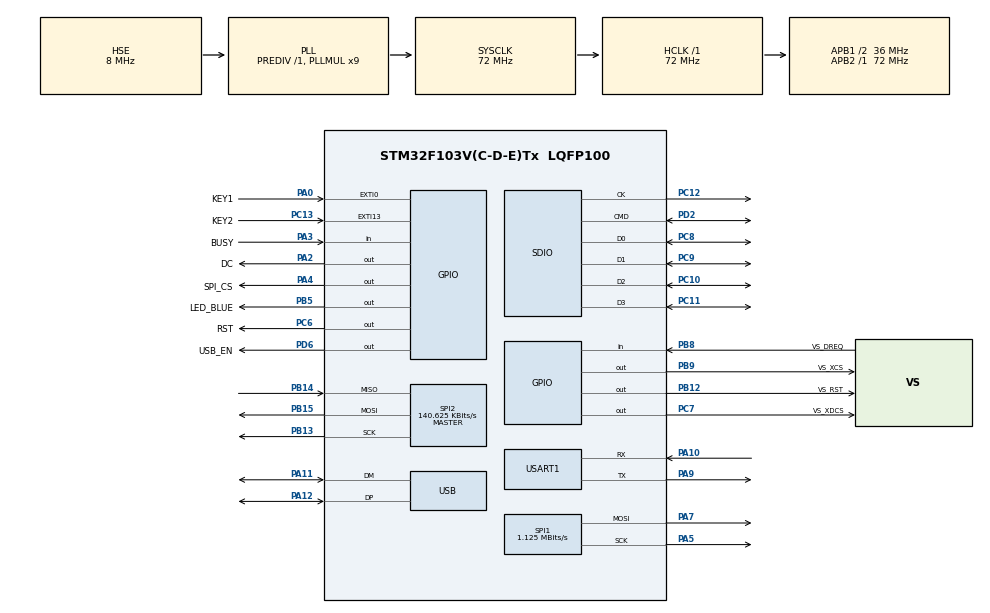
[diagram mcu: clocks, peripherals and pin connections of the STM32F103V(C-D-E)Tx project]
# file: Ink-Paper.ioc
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Dma.Request0=USART1_RX
Dma.Request1=USART1_TX
Dma.USART1_RX.0.Direction=DMA_PERIPH_TO_MEMORY
Dma.USART1_RX.0.Instance=DMA1_Channel5
Dma.USART1_RX.0.MemDataAlignment=DMA_MDATAALIGN_BYTE
Dma.USART1_RX.0.MemInc=DMA_MINC_ENABLE
Dma.USART1_RX.0.Mode=DMA_NORMAL
Dma.USART1_RX.0.PeriphDataAlignment=DMA_PDATAALIGN_BYTE
Dma.USART1_RX.0.PeriphInc=DMA_PINC_DISABLE
Dma.USART1_RX.0.Priority=DMA_PRIORITY_MEDIUM
Dma.USART1_TX.1.Direction=DMA_MEMORY_TO_PERIPH
Dma.USART1_TX.1.Instance=DMA1_Channel4
Dma.USART1_TX.1.MemDataAlignment=DMA_MDATAALIGN_BYTE
Dma.USART1_TX.1.MemInc=DMA_MINC_ENABLE
Dma.USART1_TX.1.Mode=DMA_NORMAL
Dma.USART1_TX.1.PeriphDataAlignment=DMA_PDATAALIGN_BYTE
Dma.USART1_TX.1.PeriphInc=DMA_PINC_DISABLE
Dma.USART1_TX.1.Priority=DMA_PRIORITY_MEDIUM
FATFS._CODE_PAGE=936
FATFS._FS_LOCK=50
FATFS._FS_REENTRANT=0
FATFS._MAX_LFN=100
FATFS._USE_FIND=1
FATFS._USE_LFN=2
FATFS._VOLUMES=1
FREERTOS.INCLUDE_vTaskDelayUntil=1
FREERTOS.MEMORY_ALLOCATION=1
FREERTOS.Tasks01=defaultTask,1,1024,StartDefaultTask,Default,NULL,Static,defaultTaskBuffer,defaultTaskControlBlock;mainTask,0,1024,StartMainTask,Default,NULL,Static,mainTaskBuffer,mainTaskControlBlock
FREERTOS.configTOTAL_HEAP_SIZE=12288
Mcu.Family=STM32F1
Mcu.Name=STM32F103V(C-D-E)Tx
Mcu.Package=LQFP100
NVIC.DMA1_Channel4_IRQn=true\:5\:0\:false\:false\:true\:true\:false\:true\:true
NVIC.DMA1_Channel5_IRQn=true\:5\:0\:false\:false\:true\:true\:false\:true\:true
NVIC.EXTI0_IRQn=true\:5\:0\:false\:false\:true\:true\:true\:true\:true
NVIC.EXTI15_10_IRQn=true\:5\:0\:false\:false\:true\:true\:true\:true\:true
NVIC.PriorityGroup=NVIC_PRIORITYGROUP_4
NVIC.SDIO_IRQn=true\:5\:0\:true\:false\:true\:true\:true\:true\:true
NVIC.TIM1_UP_IRQn=true\:15\:0\:true\:false\:true\:false\:false\:true\:true
NVIC.TimeBase=TIM1_UP_IRQn
NVIC.TimeBaseIP=TIM1
NVIC.USART1_IRQn=true\:5\:0\:false\:false\:true\:true\:true\:true\:true
NVIC.USB_LP_CAN1_RX0_IRQn=true\:6\:0\:true\:false\:true\:true\:false\:true\:true
OSC_IN.Mode=HSE-External-Oscillator
OSC_IN.Signal=RCC_OSC_IN
OSC_OUT.Mode=HSE-External-Oscillator
OSC_OUT.Signal=RCC_OSC_OUT
PA0-WKUP.GPIO_Label=KEY1
PA0-WKUP.GPIO_ModeDefaultEXTI=GPIO_MODE_IT_RISING_FALLING
PA0-WKUP.Signal=GPXTI0
PA10.Mode=Asynchronous
PA10.Signal=USART1_RX
PA11.Mode=Device
PA11.Signal=USB_DM
PA12.Mode=Device
PA12.Signal=USB_DP
PA13.Mode=Serial_Wire
PA13.Signal=SYS_JTMS-SWDIO
PA14.Mode=Serial_Wire
PA14.Signal=SYS_JTCK-SWCLK
PA2.GPIO_Label=DC
PA2.GPIO_Speed=GPIO_SPEED_FREQ_HIGH
PA2.Signal=GPIO_Output
PA3.GPIO_Label=BUSY
PA3.Signal=GPIO_Input
PA4.GPIO_Label=SPI_CS
PA4.Signal=GPIO_Output
PA5.Mode=TX_Only_Simplex_Unidirect_Master
PA5.Signal=SPI1_SCK
PA7.Mode=TX_Only_Simplex_Unidirect_Master
PA7.Signal=SPI1_MOSI
PA9.Mode=Asynchronous
PA9.Signal=USART1_TX
PB12.GPIO_Label=VS_RST
PB12.GPIO_PuPd=GPIO_PULLUP
PB12.GPIO_Speed=GPIO_SPEED_FREQ_HIGH
PB12.Signal=GPIO_Output
PB13.Mode=Full_Duplex_Master
PB13.Signal=SPI2_SCK
PB14.Mode=Full_Duplex_Master
PB14.Signal=SPI2_MISO
PB15.Mode=Full_Duplex_Master
PB15.Signal=SPI2_MOSI
PB5.GPIO_Label=LED_BLUE
PB5.Signal=GPIO_Output
PB8.GPIO_Label=VS_DREQ
PB8.GPIO_PuPd=GPIO_PULLUP
PB8.Signal=GPIO_Input
PB9.GPIO_Label=VS_XCS
PB9.GPIO_PuPd=GPIO_PULLUP
PB9.GPIO_Speed=GPIO_SPEED_FREQ_HIGH
PB9.Signal=GPIO_Output
PC10.Mode=SD_4_bits_Wide_bus
PC10.Signal=SDIO_D2
PC11.Mode=SD_4_bits_Wide_bus
PC11.Signal=SDIO_D3
PC12.Mode=SD_4_bits_Wide_bus
PC12.Signal=SDIO_CK
PC13-TAMPER-RTC.GPIO_Label=KEY2
PC13-TAMPER-RTC.GPIO_ModeDefaultEXTI=GPIO_MODE_IT_RISING_FALLING
PC13-TAMPER-RTC.Signal=GPXTI13
PC14-OSC32_IN.Mode=LSE-External-Oscillator
PC14-OSC32_IN.Signal=RCC_OSC32_IN
PC15-OSC32_OUT.Mode=LSE-External-Oscillator
PC15-OSC32_OUT.Signal=RCC_OSC32_OUT
PC6.GPIO_Label=RST
PC6.GPIO_PuPd=GPIO_NOPULL
PC6.GPIO_Speed=GPIO_SPEED_FREQ_HIGH
PC6.Signal=GPIO_Output
PC7.GPIO_Label=VS_XDCS
PC7.GPIO_PuPd=GPIO_PULLUP
PC7.GPIO_Speed=GPIO_SPEED_FREQ_HIGH
PC7.Signal=GPIO_Output
PC8.Mode=SD_4_bits_Wide_bus
PC8.Signal=SDIO_D0
PC9.Mode=SD_4_bits_Wide_bus
PC9.Signal=SDIO_D1
PD2.Mode=SD_4_bits_Wide_bus
PD2.Signal=SDIO_CMD
PD6.GPIO_Label=USB_EN
PD6.GPIO_ModeDefaultOutputPP=GPIO_MODE_OUTPUT_PP
PD6.GPIO_PuPd=GPIO_NOPULL
PD6.PinState=GPIO_PIN_SET
PD6.Signal=GPIO_Output
ProjectManager.HeapSize=0x500
ProjectManager.StackSize=0x1000
ProjectManager.TargetToolchain=STM32CubeIDE
RCC.AHBFreq_Value=72000000
RCC.APB1CLKDivider=RCC_HCLK_DIV2
RCC.APB1Freq_Value=36000000
RCC.APB1TimFreq_Value=72000000
RCC.APB2Freq_Value=72000000
RCC.APB2TimFreq_Value=72000000
RCC.HCLKFreq_Value=72000000
RCC.PLLMUL=RCC_PLL_MUL9
RCC.PLLSourceVirtual=RCC_PLLSOURCE_HSE
RCC.SYSCLKFreq_VALUE=72000000
RCC.SYSCLKSource=RCC_SYSCLKSOURCE_PLLCLK
RCC.USBFreq_Value=48000000
RCC.USBPrescaler=RCC_USBCLKSOURCE_PLL_DIV1_5
SDIO.ClockDiv=2
SDIO.HardwareFlowControl=SDIO_HARDWARE_FLOW_CONTROL_ENABLE
SPI1.BaudRatePrescaler=SPI_BAUDRATEPRESCALER_64
SPI1.CalculateBaudRate=1.125 MBits/s
SPI1.Direction=SPI_DIRECTION_2LINES
SPI1.Mode=SPI_MODE_MASTER
SPI1.VirtualType=VM_MASTER
SPI2.BaudRatePrescaler=SPI_BAUDRATEPRESCALER_256
SPI2.CLKPhase=SPI_PHASE_2EDGE
SPI2.CLKPolarity=SPI_POLARITY_HIGH
SPI2.CRCCalculation=SPI_CRCCALCULATION_DISABLE
SPI2.CalculateBaudRate=140.625 KBits/s
SPI2.Direction=SPI_DIRECTION_2LINES
SPI2.Mode=SPI_MODE_MASTER
SPI2.VirtualType=VM_MASTER
USART1.VirtualMode=VM_ASYNC
USB_DEVICE.CLASS_NAME_FS=MSC
USB_DEVICE.VirtualMode=Msc
USB_DEVICE.VirtualModeFS=Msc_FS
VP_FATFS_VS_SDIO.Mode=SDIO
VP_FREERTOS_VS_CMSIS_V1.Mode=CMSIS_V1
VP_SYS_VS_tim1.Mode=TIM1
VP_USB_DEVICE_VS_USB_DEVICE_MSC_FS.Mode=MSC_FS
board=custom

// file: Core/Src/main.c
/* USER CODE BEGIN Header */
/**
  ******************************************************************************
  * @file           : main.c
  * @brief          : Main program body
  ******************************************************************************
  * @attention
  *
  * Copyright (c) 2022 STMicroelectronics.
  * All rights reserved.
  *
  * This software is licensed under terms that can be found in the LICENSE file
  * in the root directory of this software component.
  * If no LICENSE file comes with this software, it is provided AS-IS.
  *
  ******************************************************************************
  */
	#include "bsp_ink_paper.h"
    #include "fops.h"
    #include "audio.h"
    #include "ff.h"
    #include "bsp_vs10xx.h"
    #include "bsp_delay.h"
/* USER CODE END Header */
#include "main.h"
#include "cmsis_os.h"
#include "dma.h"
#include "fatfs.h"
#include "sdio.h"
#include "spi.h"
#include "usart.h"
#include "usb_device.h"
#include "gpio.h"

void SystemClock_Config(void);
void MX_FREERTOS_Init(void);

int main(void)
{

  /* MCU Configuration--------------------------------------------------------*/

  /* Reset of all peripherals, Initializes the Flash interface and the Systick. */
  HAL_Init();

  /* Configure the system clock */
  SystemClock_Config();

  /* Initialize all configured peripherals */
  MX_GPIO_Init();
  MX_DMA_Init();
  MX_SPI1_Init();
  MX_USART1_UART_Init();
  MX_SDIO_SD_Init();
  MX_FATFS_Init();
  MX_SPI2_Init();
  /* USER CODE BEGIN 2 */
    delay_init();
    printf("%d",f_mount(&SDFatFS,SDPath,0));
    exf_showfree((uint8_t*)"0:");
    VS_HD_Reset();  // 初始化一定要硬复位VS1053b 不然DREQ一直为低
  /* USER CODE END 2 */

  /* Call init function for freertos objects (in freertos.c) */
  MX_FREERTOS_Init();

  /* Start scheduler */
  osKernelStart();

  /* We should never get here as control is now taken by the scheduler */
  /* Infinite loop */
    while (1)
    {

    }
}

void SystemClock_Config(void)
{
  RCC_OscInitTypeDef RCC_OscInitStruct = {0};
  RCC_ClkInitTypeDef RCC_ClkInitStruct = {0};
  RCC_PeriphCLKInitTypeDef PeriphClkInit = {0};

  /** Initializes the RCC Oscillators according to the specified parameters
  * in the RCC_OscInitTypeDef structure.
  */
  RCC_OscInitStruct.OscillatorType = RCC_OSCILLATORTYPE_HSE;
  RCC_OscInitStruct.HSEState = RCC_HSE_ON;
  RCC_OscInitStruct.HSEPredivValue = RCC_HSE_PREDIV_DIV1;
  RCC_OscInitStruct.HSIState = RCC_HSI_ON;
  RCC_OscInitStruct.PLL.PLLState = RCC_PLL_ON;
  RCC_OscInitStruct.PLL.PLLSource = RCC_PLLSOURCE_HSE;
  RCC_OscInitStruct.PLL.PLLMUL = RCC_PLL_MUL9;
  if (HAL_RCC_OscConfig(&RCC_OscInitStruct) != HAL_OK)
  {
    Error_Handler();
  }

  /** Initializes the CPU, AHB and APB buses clocks
  */
  RCC_ClkInitStruct.ClockType = RCC_CLOCKTYPE_HCLK|RCC_CLOCKTYPE_SYSCLK
                              |RCC_CLOCKTYPE_PCLK1|RCC_CLOCKTYPE_PCLK2;
  RCC_ClkInitStruct.SYSCLKSource = RCC_SYSCLKSOURCE_PLLCLK;
  RCC_ClkInitStruct.AHBCLKDivider = RCC_SYSCLK_DIV1;
  RCC_ClkInitStruct.APB1CLKDivider = RCC_HCLK_DIV2;
  RCC_ClkInitStruct.APB2CLKDivider = RCC_HCLK_DIV1;

  if (HAL_RCC_ClockConfig(&RCC_ClkInitStruct, FLASH_LATENCY_2) != HAL_OK)
  {
    Error_Handler();
  }
  PeriphClkInit.PeriphClockSelection = RCC_PERIPHCLK_USB;
  PeriphClkInit.UsbClockSelection = RCC_USBCLKSOURCE_PLL_DIV1_5;
  if (HAL_RCCEx_PeriphCLKConfig(&PeriphClkInit) != HAL_OK)
  {
    Error_Handler();
  }
}

void HAL_TIM_PeriodElapsedCallback(TIM_HandleTypeDef *htim)
{
  if (htim->Instance == TIM1) {
    HAL_IncTick();
  }
  /* USER CODE BEGIN Callback 1 */
    if (htim->Instance == TIM1) {  // 1ms
        lv_tick_inc(1);

    }
  /* USER CODE END Callback 1 */
}

void Error_Handler(void)
{
  __disable_irq();
  while (1)
  {
  }
}

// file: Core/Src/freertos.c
/* USER CODE BEGIN Header */
/**
  ******************************************************************************
  * File Name          : freertos.c
  * Description        : Code for freertos applications
  ******************************************************************************
  * @attention
  *
  * Copyright (c) 2022 STMicroelectronics.
  * All rights reserved.
  *
  * This software is licensed under terms that can be found in the LICENSE file
  * in the root directory of this software component.
  * If no LICENSE file comes with this software, it is provided AS-IS.
  *
  ******************************************************************************
  */
#include "lvgl.h"
#include "lv_port_disp.h"
#include "lv_port_fs.h"
#include "lv_port_indev.h"
#include "EPD_1in54_V2.h"
#include "GUI_Paint.h"
#include "bsp_ink_paper.h"
#include "bsp_key.h"
#include "usbd_def.h"
#include "usbd_core.h"
#include "sdio.h"
#include "ff.h"
#include "fatfs.h"
#include "audio.h"
#include "bsp_vs10xx.h"
#include "page_main.h"
#include "gui_setup.h"
#include "fops.h"
#include "bsp_usart.h"
#include "page_audio.h"
/* USER CODE END Header */

#include "FreeRTOS.h"
#include "task.h"
#include "main.h"
#include "cmsis_os.h"

/* USER CODE BEGIN PTD */
extern TIM_HandleTypeDef htim4;
/* USER CODE END PTD */

osThreadId defaultTaskHandle;
uint32_t defaultTaskBuffer[ 1024 ];
osStaticThreadDef_t defaultTaskControlBlock;
osThreadId mainTaskHandle;
uint32_t mainTaskBuffer[ 1024 ];
osStaticThreadDef_t mainTaskControlBlock;

void StartDefaultTask(void const * argument);
void StartMainTask(void const * argument);

extern void MX_USB_DEVICE_Init(void);
void MX_FREERTOS_Init(void); /* (MISRA C 2004 rule 8.1) */

/* GetIdleTaskMemory prototype (linked to static allocation support) */
void vApplicationGetIdleTaskMemory( StaticTask_t **ppxIdleTaskTCBBuffer, StackType_t **ppxIdleTaskStackBuffer, uint32_t *pulIdleTaskStackSize );

/* USER CODE BEGIN GET_IDLE_TASK_MEMORY */
static StaticTask_t xIdleTaskTCBBuffer;
static StackType_t xIdleStack[configMINIMAL_STACK_SIZE];

void vApplicationGetIdleTaskMemory(StaticTask_t **ppxIdleTaskTCBBuffer, StackType_t **ppxIdleTaskStackBuffer,
                                   uint32_t *pulIdleTaskStackSize) {
    *ppxIdleTaskTCBBuffer = &xIdleTaskTCBBuffer;
    *ppxIdleTaskStackBuffer = &xIdleStack[0];
    *pulIdleTaskStackSize = configMINIMAL_STACK_SIZE;
    /* place for user code */
}
/* USER CODE END GET_IDLE_TASK_MEMORY */

void MX_FREERTOS_Init(void) {

  /* Create the thread(s) */
  /* definition and creation of defaultTask */
  osThreadStaticDef(defaultTask, StartDefaultTask, osPriorityNormal, 0, 1024, defaultTaskBuffer, &defaultTaskControlBlock);
  defaultTaskHandle = osThreadCreate(osThread(defaultTask), NULL);

  /* definition and creation of mainTask */
  osThreadStaticDef(mainTask, StartMainTask, osPriorityNormal, 0, 1024, mainTaskBuffer, &mainTaskControlBlock);
  mainTaskHandle = osThreadCreate(osThread(mainTask), NULL);

  /* USER CODE BEGIN RTOS_THREADS */
    vTaskSuspend(mainTaskHandle);
  /* USER CODE END RTOS_THREADS */

}

void StartDefaultTask(void const * argument)
{
  /* init code for USB_DEVICE */
  MX_USB_DEVICE_Init();
  /* USER CODE BEGIN StartDefaultTask */
    static portTickType PreviousWakeTime;
    const portTickType TimeIncrement = pdMS_TO_TICKS(5);
    PreviousWakeTime = xTaskGetTickCount();
    InkPaperInit();
    lv_init();
    lv_port_disp_init();
    lv_port_indev_init();
    lv_port_fs_init();
    GUIInit();
    HAL_TIM_Encoder_Start(&htim4,TIM_CHANNEL_ALL);
    vTaskResume(mainTaskHandle);
    HAL_GPIO_WritePin(USB_EN_GPIO_Port, USB_EN_Pin, GPIO_PIN_SET);
    /* Infinite loop */
    for (;;) {
        if(audio_play_state==AUDIO_PLAY){
            vTaskDelay(100);
            audio_play((uint8_t *) namebuff, &audio_play_state);
        }
        USART1_REC_Handler();
        vTaskDelayUntil(&PreviousWakeTime, TimeIncrement);
    }
  /* USER CODE END StartDefaultTask */
}

/* USER CODE BEGIN Header_StartMainTask */
/**
* @brief Function implementing the mainTask thread.
* @param argument: Not used
* @retval None
*/

#define EventBit_USBConnect 0x01
#define EventBit_USBDisconnect 0x02

/* USER CODE END Header_StartMainTask */
void StartMainTask(void const * argument)
{
  /* USER CODE BEGIN StartMainTask */
    static portTickType PreviousWakeTime;
    const portTickType TimeIncrement = pdMS_TO_TICKS(5);
    PreviousWakeTime = xTaskGetTickCount();

    extern void lv_example4(void);
    lv_example4();
//	vTaskDelay(3000);
//	vTaskDelete(NULL);
    //lv_example1();
    /* Infinite loop */
//	lv_obj_t *sym_label = lv_label_create(lv_scr_act());
//	lv_obj_align(sym_label,LV_ALIGN_TOP_LEFT,0,0);
//	lv_obj_set_style_text_font(sym_label,&lv_font_montserrat_18,0);
//	lv_label_set_text(sym_label,"");
    for (;;) {
        lv_task_handler();
//		if(osSignalWait(EventBit_USBConnect,1).status==osEventSignal)
//		{
//			lv_label_set_text(sym_label, LV_SYMBOL_USB);
//		}
//		else if(osSignalWait(EventBit_USBDisconnect,1).status==osEventSignal)
//		{
//			lv_label_set_text(sym_label,"");
//		}
        vTaskDelayUntil(&PreviousWakeTime, TimeIncrement);
    }
  /* USER CODE END StartMainTask */
}

/* USER CODE BEGIN Application */
void lv_example1(void) {
    taskENTER_CRITICAL();
    int16_t time_s = 10;
    lv_obj_t *label = lv_label_create(lv_scr_act());
    lv_obj_t *label1 = lv_label_create(lv_scr_act());
    lv_obj_t *label2 = lv_label_create(lv_scr_act());
    lv_obj_center(label);
    lv_obj_align(label, LV_ALIGN_TOP_MID, 0, 0);
    lv_obj_align_to(label1, label, LV_ALIGN_OUT_BOTTOM_LEFT, -20, 0);
    lv_obj_align_to(label2, label1, LV_ALIGN_OUT_BOTTOM_MID, 0, 0);
    lv_label_set_text_fmt(label, " NUM:%d ", time_s);
    lv_label_set_text_fmt(label1, " NUM:%d ", time_s);
    lv_label_set_text_fmt(label2, " NUM:%d ", time_s);
    lv_obj_set_style_text_font(label1, &custom_yaheiBold_22, 0);
    lv_obj_set_style_text_font(label2, &custom_yaheiBold_26, 0);

    taskEXIT_CRITICAL();
    for (time_s--; time_s >= 0; time_s--) {
        vTaskDelay(1000);
        lv_label_set_text_fmt(label, " NUM:%d ", time_s);
        lv_label_set_text_fmt(label1, " NUM:%d ", time_s);
        lv_label_set_text_fmt(label2, " NUM:%d ", time_s);
    }
    taskENTER_CRITICAL();
    lv_obj_del_async(label1);
    lv_obj_del_async(label2);
    lv_label_set_text(label, " Hello World! ");
    lv_obj_set_style_text_color(label, lv_color_hex(0XFF), 0);
    lv_obj_set_style_bg_color(label, lv_color_hex(0X00), 0);
    lv_obj_set_style_bg_opa(label, LV_OPA_100, 0);
    taskEXIT_CRITICAL();
    vTaskDelay(3000);

    taskENTER_CRITICAL();
    lv_obj_set_width(label, 10 * 13);
    lv_label_set_text(label, " LVGL has been equipped on STM32! ");
    lv_label_set_long_mode(label, LV_LABEL_LONG_SCROLL);
    taskEXIT_CRITICAL();
}

void lv_example2(void) {
    taskENTER_CRITICAL();
    extern lv_indev_t *indev_encoder;

    static lv_style_t style_defocus, style_focus;
    lv_style_init(&style_defocus);
    lv_style_set_text_font(&style_defocus, &custom_yaheiBold_18);
    lv_style_set_bg_color(&style_defocus, lv_color_hex(0XFF));
    lv_style_set_text_color(&style_defocus, lv_color_hex(0X00));
    lv_style_set_bg_opa(&style_defocus, LV_OPA_100);

    lv_style_init(&style_focus);
    lv_style_set_text_font(&style_focus, &custom_yaheiBold_18);
    lv_style_set_bg_color(&style_focus, lv_color_hex(0X00));
    lv_style_set_text_color(&style_focus, lv_color_hex(0XFF));
    lv_style_set_bg_opa(&style_focus, LV_OPA_100);

    lv_group_t *g = lv_group_create();
    lv_group_set_default(g);

    lv_obj_t *btn = lv_btn_create(lv_scr_act());
    lv_obj_t *label = lv_label_create(btn);
    lv_obj_add_style(btn, &style_defocus, LV_STATE_DEFAULT);
    lv_obj_add_style(btn, &style_focus, LV_STATE_FOCUSED);
    lv_label_set_text(label, "Label[1]");
    lv_obj_align(btn, LV_ALIGN_TOP_MID, 0, 5);
    //lv_obj_add_event_cb(btn,&label_style_cb,LV_EVENT_DEFOCUSED|LV_EVENT_FOCUSED,NULL);
    lv_obj_t *label_temp = label, *btn_last = btn, *btn_temp;

    for (int x = 2; x <= 4; x++) {
        btn_temp = lv_btn_create(lv_scr_act());
        label_temp = lv_label_create(btn_temp);
        lv_obj_add_style(btn_temp, &style_defocus, LV_STATE_DEFAULT);
        lv_obj_add_style(btn_temp, &style_focus, LV_STATE_FOCUSED);
        lv_label_set_text_fmt(label_temp, "Label[%d]", x);
        lv_obj_align_to(btn_temp, btn_last, LV_ALIGN_OUT_BOTTOM_MID, 0, 5);
        btn_last = btn_temp;

//		lv_obj_add_event_cb(label_temp,&label_style_cb,LV_EVENT_DEFOCUSED|LV_EVENT_FOCUSED,NULL);
    }

    lv_indev_set_group(indev_encoder, g);
    taskEXIT_CRITICAL();
}

void lv_example3(void) {
    lv_obj_t *img = lv_img_create(lv_scr_act());  // don't use lv_obj_create!!!   qwq
    //lv_obj_set_style_text_font(img,&lv_font_montserrat_18,0);
//    lv_img_set_src(img,"P:me2.bin");
    lv_obj_center(img);
    //lv_obj_t *label = lv_label_create(lv_scr_act());
//    taskEXIT_CRITICAL();
//    vTaskDelay(3000);
//    taskENTER_CRITICAL();
//    EPD_1N54_V2_FullClearToPartial();
    lv_img_set_src(img, "P:Images\\777.bin");
//    lv_img_set_src(img,"P:hhh.bin");
//    vTaskDelay(5000);
//    EPD_1N54_V2_FullClearToPartial();
    while (HAL_SD_GetState(&hsd) == HAL_SD_STATE_BUSY);
//    printf("\n%d",audio_play((uint8_t *)"0:song1.mp3"));
//    vTaskDelay(10000);
//    printf("recording...\n");
//    FRESULT state =  f_opendir(&SDDir,"0:Records");
//    if(state != FR_OK)f_closedir(&SDDir);
//    else{
//        printf("\n%d",audio_recorde(1,10));
//    }
    MX_USB_DEVICE_Init();
    HAL_GPIO_WritePin(USB_EN_GPIO_Port, USB_EN_Pin, GPIO_PIN_RESET);
//    vTaskDelay(7000);
//    while(HAL_SD_GetState(&hsd)!=HAL_SD_STATE_READY);
//    HAL_GPIO_WritePin(USB_EN_GPIO_Port,USB_EN_Pin,GPIO_PIN_SET);

}

void lv_example4(void) {
    setup_ui(&ui_main, &ui_ROOT, NULL);
//    uint8_t path[] = "0:heaven.mp3";
//    uint8_t path[] = "0:song.flac";
//    audio_play(path);
//    uint8_t path2[] = "0:heaven.mp3";
//    audio_play(path2);
//    uint8_t path1[] = "0:travel.mp3";
//    audio_play(path1);
}

/**USB???**/
//void App_USB_State_IRQHandler(void)
//{
// static uint8_t old_state = 0;
//  /* ???usb?�????????�? */
//  if(old_state)
//  {
//    /* USB???? */
//   if(pdev->dev_state == USBD_STATE_CONFIGURED)
//   {
//     osSignalSet (mainTaskHandle, EventBit_USBConnect);
//   }
//   /* USB??? */
//   else if(pdev->dev_state==USBD_STATE_SUSPENDED)
//   {
//     osSignalSet (mainTaskHandle, EventBit_USBDisconnect);
//   }
//    old_state = pdev->dev_state;
//  }
//}
/* USER CODE END Application */
